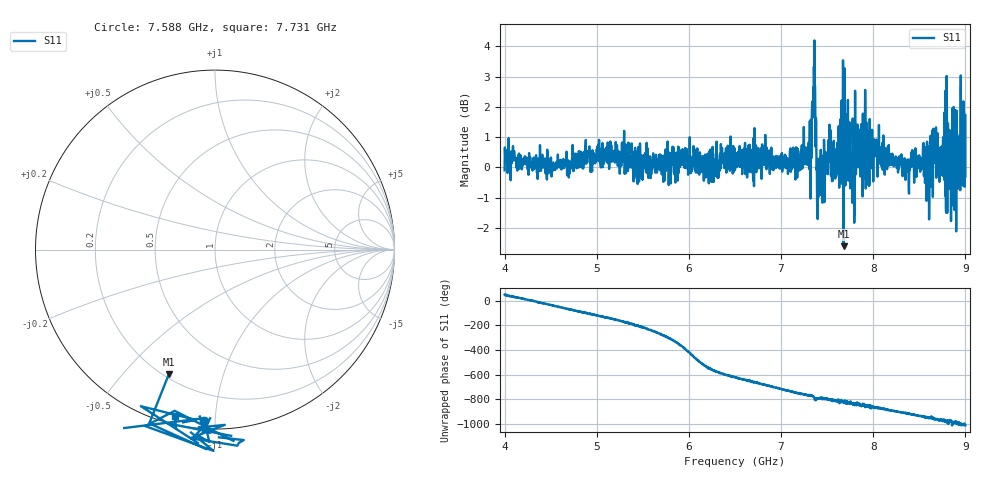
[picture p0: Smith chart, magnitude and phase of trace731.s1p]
! Created with skrf 1.8.0 (http://scikit-rf.org).
# Hz S RI R 50.0
!freq ReS11 ImS11
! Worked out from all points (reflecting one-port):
!   1601 points, 4 GHz to 9 GHz, reference 50 ohm
!   lowest |S11| = -2.6 dB at 7.678 GHz (marker M1), VSWR 6.73, Z = 10.9 - j33.7 ohm
!   phase of S11 starts at 47 deg and turns -1057 deg over the sweep
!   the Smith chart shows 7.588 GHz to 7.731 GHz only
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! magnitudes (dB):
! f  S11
! 4 GHz  -0.1
! 4.625 GHz  0.1
! 5.25 GHz  -0.2
! 5.875 GHz  0.5
! 6.5 GHz  -0.1
! 7.125 GHz  0.2
! 7.294 GHz  0.1
! 7.356 GHz  3.3
! 7.409 GHz  -0.1
! 7.512 GHz  0.9
! 7.584 GHz  -0.3
! 7.65 GHz  0.4
! 7.678 GHz  -2.6
! 7.75 GHz  -0.7
! 7.775 GHz  1.4
! 7.828 GHz  1.4
! 7.922 GHz  0.0
! 7.975 GHz  0.9
! 8.038 GHz  0.8
! 8.375 GHz  0.1
! 8.438 GHz  0.4
! 8.584 GHz  0.9
! 8.656 GHz  0.7
! 8.766 GHz  0.4
! 8.8 GHz  1.6
! 8.856 GHz  -0.2
! 8.959 GHz  1.6
! 9 GHz  -0.3
